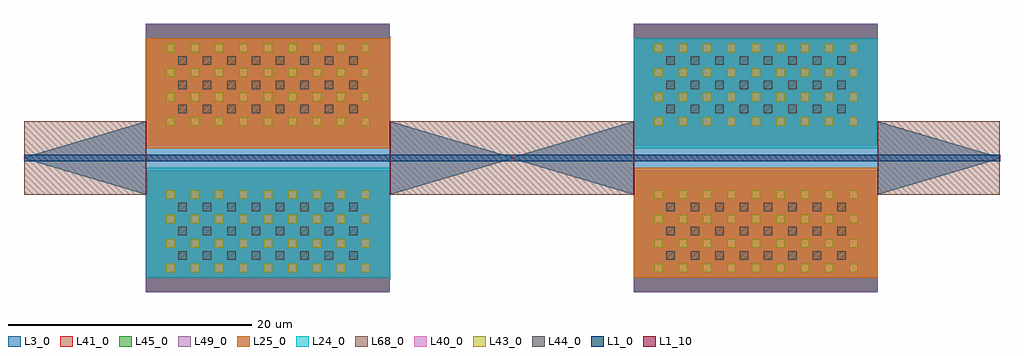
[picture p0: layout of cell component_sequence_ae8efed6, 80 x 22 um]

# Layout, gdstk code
from math import pi, radians
import gdstk
lib = gdstk.Library(unit=1e-6, precision=1e-09)
def R(c, l, rs):  # rectangles x0, y0, x1, y1
    for r in rs: c.add(gdstk.rectangle(r[:2], r[2:], *l))
def P(c, l, *ps):  # polygons
    for p in ps: c.add(gdstk.Polygon(p, *l))
L1_0 = (1, 0)
L1_10 = (1, 10)
L3_0 = (3, 0)
L24_0 = (24, 0)
L25_0 = (25, 0)
L40_0 = (40, 0)
L41_0 = (41, 0)
L43_0 = (43, 0)
L44_0 = (44, 0)
L45_0 = (45, 0)
L49_0 = (49, 0)
L68_0 = (68, 0)

straight_7b0384b3 = lib.new_cell('straight_7b0384b3')
R(straight_7b0384b3, L1_0, [(0,-0.25,20,0.25)])
R(straight_7b0384b3, L3_0, [(0,-10,20,10)])
R(straight_7b0384b3, L24_0, [(0,0.8,20,9.8)])
R(straight_7b0384b3, L25_0, [(0,-9.8,20,-0.8)])
R(straight_7b0384b3, L68_0, [(0,-0.25,20,0.25)])
straight_7b0384b3.add(gdstk.FlexPath([(0.001,0),(-0.001,0)], 0.5, ends="flush", simple_path=True, layer=1, datatype=10))  # L1_10
straight_7b0384b3.add(gdstk.FlexPath([(19.999,0),(20.001,0)], 0.5, ends="flush", simple_path=True, layer=1, datatype=10))  # L1_10
straight_7b0384b3.add(gdstk.Label('o1', (0,0), layer=1, texttype=10))
straight_7b0384b3.add(gdstk.Label('o2', (20,0), layer=1, texttype=10))

taper_strip_to_ridge = lib.new_cell('taper_strip_to_ridge')
R(taper_strip_to_ridge, L1_0, [(0,-0.25,10,0.25)])
P(taper_strip_to_ridge, L3_0, [(0,0.075),(10,3),(10,-3),(0,-0.075)])
R(taper_strip_to_ridge, L68_0, [(0,-3,10,3)])
taper_strip_to_ridge.add(gdstk.FlexPath([(0.001,0),(-0.001,0)], 0.5, ends="flush", simple_path=True, layer=1, datatype=10))  # L1_10
taper_strip_to_ridge.add(gdstk.FlexPath([(9.999,0),(10.001,0)], 6, ends="flush", simple_path=True, layer=1, datatype=10))  # L1_10
taper_strip_to_ridge.add(gdstk.Label('o1', (0,0), layer=1, texttype=10))
taper_strip_to_ridge.add(gdstk.Label('o2', (10,0), layer=1, texttype=10))
taper_strip_to_ridge.add(gdstk.Label('o1', (0,0), layer=1, texttype=10))
taper_strip_to_ridge.add(gdstk.Label('o2', (10,0), layer=1, texttype=10))
taper_strip_to_ridge.add(gdstk.Label('o1', (0,0), layer=1, texttype=10))
taper_strip_to_ridge.add(gdstk.Label('o2', (10,0), layer=1, texttype=10))

compass_afe4cc08 = lib.new_cell('compass_afe4cc08')
R(compass_afe4cc08, L3_0, [(-10,-5,10,5)])

compass_03dff63b = lib.new_cell('compass_03dff63b')
R(compass_03dff63b, L41_0, [(-10,-5,10,5)])

compass_0f4f803a = lib.new_cell('compass_0f4f803a')
R(compass_0f4f803a, L45_0, [(-10,-5,10,5)])

compass_96c46e9f = lib.new_cell('compass_96c46e9f')
R(compass_96c46e9f, L49_0, [(-10,-5,10,5)])

via = lib.new_cell('via')
R(via, L40_0, [(-0.35,-0.35,0.35,0.35)])

via_enclosure2_layervia1 = lib.new_cell('via_enclosure2_layerVIA1')
R(via_enclosure2_layervia1, L44_0, [(-0.35,-0.35,0.35,0.35)])

via_layervia2 = lib.new_cell('via_layerVIA2')
R(via_layervia2, L43_0, [(-0.35,-0.35,0.35,0.35)])

via_stack_ec0dde6d = lib.new_cell('via_stack_ec0dde6d')
via_stack_ec0dde6d.add(gdstk.Reference(compass_afe4cc08, (0,0)))
via_stack_ec0dde6d.add(gdstk.Reference(compass_03dff63b, (0,0)))
via_stack_ec0dde6d.add(gdstk.Reference(compass_0f4f803a, (0,0)))
via_stack_ec0dde6d.add(gdstk.Reference(compass_96c46e9f, (0,0)))
r = gdstk.Reference(via, (-8,-3)); r.repetition = gdstk.Repetition(9, 4, v1=(2,0), v2=(0,2)); via_stack_ec0dde6d.add(r)
r = gdstk.Reference(via_enclosure2_layervia1, (-7,-2)); r.repetition = gdstk.Repetition(8, 3, v1=(2,0), v2=(0,2)); via_stack_ec0dde6d.add(r)
r = gdstk.Reference(via_layervia2, (-8,-3)); r.repetition = gdstk.Repetition(9, 4, v1=(2,0), v2=(0,2)); via_stack_ec0dde6d.add(r)

straight_pin_length40 = lib.new_cell('straight_pin_length40')
straight_pin_length40.add(gdstk.Reference(straight_7b0384b3, (0,0)))
straight_pin_length40.add(gdstk.Reference(taper_strip_to_ridge, (-10,0)))
straight_pin_length40.add(gdstk.Reference(taper_strip_to_ridge, (30,0), rotation=pi))
straight_pin_length40.add(gdstk.Reference(via_stack_ec0dde6d, (9.999,6)))
straight_pin_length40.add(gdstk.Reference(via_stack_ec0dde6d, (9.999,-6)))

component_sequence_ae8ef = lib.new_cell('component_sequence_ae8efed6')
component_sequence_ae8ef.add(gdstk.Reference(straight_pin_length40, (0,0), x_reflection=True))
component_sequence_ae8ef.add(gdstk.Reference(straight_pin_length40, (40,0)))

lib.write_gds('component_sequence_ae8efed6.gds')
